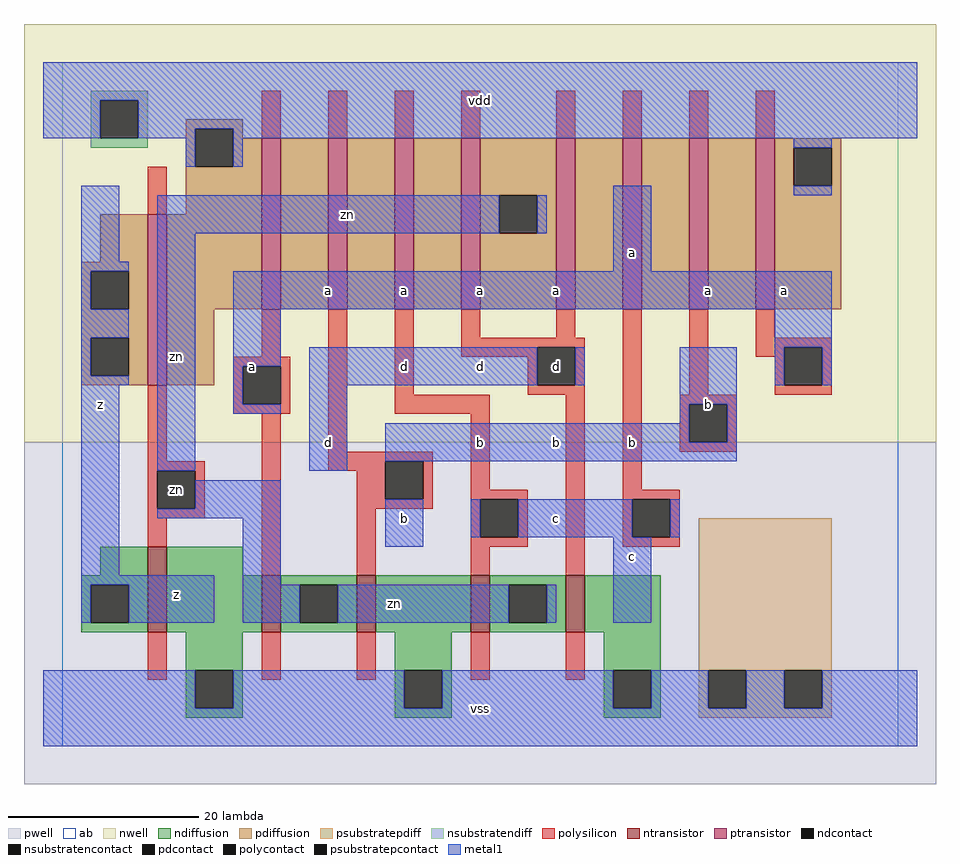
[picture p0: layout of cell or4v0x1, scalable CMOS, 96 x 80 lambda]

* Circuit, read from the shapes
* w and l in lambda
.subckt or4v0x1 a b c d vdd vss z zn
M1 vss zn z vss nfet w=9 l=2
M2 zn a vss vss nfet w=6 l=2
M3 vss b zn vss nfet w=6 l=2
M4 zn c vss vss nfet w=6 l=2
M5 vss d zn vss nfet w=6 l=2
M6 vdd zn z vdd pfet w=18 l=2
M7 n1 a vdd vdd pfet w=18 l=2
M8 n2 b n1 vdd pfet w=18 l=2
M9 n3 c n2 vdd pfet w=18 l=2
M10 zn d n3 vdd pfet w=18 l=2
M11 n4 d zn vdd pfet w=18 l=2
M12 n5 c n4 vdd pfet w=18 l=2
M13 n6 b n5 vdd pfet w=18 l=2
M14 vdd a n6 vdd pfet w=18 l=2
.ends

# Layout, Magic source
magic
tech scmos
<< ab >>
rect 0 0 88 72
<< pwell >>
rect -4 -4 92 32
<< nwell >>
rect -4 32 92 76
<< polysilicon >>
rect 21 64 23 69
rect 28 64 30 69
rect 35 64 37 69
rect 42 64 44 69
rect 52 64 54 69
rect 59 64 61 69
rect 66 64 68 69
rect 73 64 75 69
rect 9 56 11 61
rect 21 41 23 46
rect 18 40 24 41
rect 9 30 11 38
rect 18 36 19 40
rect 23 36 24 40
rect 18 35 24 36
rect 9 29 15 30
rect 9 25 10 29
rect 14 25 15 29
rect 9 24 15 25
rect 9 21 11 24
rect 21 18 23 35
rect 28 31 30 46
rect 35 37 37 46
rect 42 43 44 46
rect 52 43 54 46
rect 42 42 55 43
rect 42 41 50 42
rect 49 38 50 41
rect 54 38 55 42
rect 49 37 55 38
rect 35 35 45 37
rect 28 30 39 31
rect 28 29 34 30
rect 31 26 34 29
rect 38 26 39 30
rect 31 25 39 26
rect 43 27 45 35
rect 43 26 49 27
rect 31 18 33 25
rect 43 22 44 26
rect 48 22 49 26
rect 43 21 49 22
rect 43 18 45 21
rect 53 18 55 37
rect 59 27 61 46
rect 66 37 68 46
rect 73 43 75 46
rect 73 42 81 43
rect 73 41 76 42
rect 75 38 76 41
rect 80 38 81 42
rect 75 37 81 38
rect 65 36 71 37
rect 65 32 66 36
rect 70 32 71 36
rect 65 31 71 32
rect 59 26 65 27
rect 59 22 60 26
rect 64 22 65 26
rect 59 21 65 22
rect 9 7 11 12
rect 21 7 23 12
rect 31 7 33 12
rect 43 7 45 12
rect 53 7 55 12
<< ndiffusion >>
rect 4 18 9 21
rect 2 17 9 18
rect 2 13 3 17
rect 7 13 9 17
rect 2 12 9 13
rect 11 18 19 21
rect 11 12 21 18
rect 23 17 31 18
rect 23 13 25 17
rect 29 13 31 17
rect 23 12 31 13
rect 33 12 43 18
rect 45 17 53 18
rect 45 13 47 17
rect 51 13 53 17
rect 45 12 53 13
rect 55 12 63 18
rect 13 8 19 12
rect 13 4 14 8
rect 18 4 19 8
rect 35 8 41 12
rect 13 3 19 4
rect 35 4 36 8
rect 40 4 41 8
rect 57 8 63 12
rect 35 3 41 4
rect 57 4 58 8
rect 62 4 63 8
rect 57 3 63 4
<< pdiffusion >>
rect 13 65 19 66
rect 13 61 14 65
rect 18 64 19 65
rect 18 61 21 64
rect 13 56 21 61
rect 4 51 9 56
rect 2 50 9 51
rect 2 46 3 50
rect 7 46 9 50
rect 2 43 9 46
rect 2 39 3 43
rect 7 39 9 43
rect 2 38 9 39
rect 11 46 21 56
rect 23 46 28 64
rect 30 46 35 64
rect 37 46 42 64
rect 44 58 52 64
rect 44 54 46 58
rect 50 54 52 58
rect 44 46 52 54
rect 54 46 59 64
rect 61 46 66 64
rect 68 46 73 64
rect 75 63 82 64
rect 75 59 77 63
rect 81 59 82 63
rect 75 46 82 59
rect 11 38 16 46
<< metal1 >>
rect -2 68 90 72
rect -2 64 4 68
rect 8 65 90 68
rect 8 64 14 65
rect 13 61 14 64
rect 18 64 90 65
rect 18 61 19 64
rect 77 63 81 64
rect 2 51 6 59
rect 10 54 46 58
rect 50 54 51 58
rect 2 50 7 51
rect 2 46 3 50
rect 2 43 7 46
rect 2 39 3 43
rect 2 38 7 39
rect 2 18 6 38
rect 10 29 14 54
rect 58 50 62 59
rect 77 58 81 59
rect 18 46 81 50
rect 18 40 23 46
rect 75 42 81 46
rect 18 36 19 40
rect 18 35 23 36
rect 26 38 50 42
rect 54 38 55 42
rect 26 29 30 38
rect 65 36 71 42
rect 75 38 76 42
rect 80 38 81 42
rect 65 34 66 36
rect 34 32 66 34
rect 70 32 71 36
rect 34 30 71 32
rect 14 25 23 28
rect 10 24 23 25
rect 2 17 16 18
rect 2 13 3 17
rect 7 13 16 17
rect 19 17 23 24
rect 34 21 38 26
rect 43 22 44 26
rect 48 22 60 26
rect 64 22 65 26
rect 19 13 25 17
rect 29 13 47 17
rect 51 13 52 17
rect 58 13 62 22
rect -2 4 14 8
rect 18 4 36 8
rect 40 4 58 8
rect 62 4 68 8
rect 72 4 76 8
rect 80 4 90 8
rect -2 0 90 4
<< ntransistor >>
rect 9 12 11 21
rect 21 12 23 18
rect 31 12 33 18
rect 43 12 45 18
rect 53 12 55 18
<< ptransistor >>
rect 9 38 11 56
rect 21 46 23 64
rect 28 46 30 64
rect 35 46 37 64
rect 42 46 44 64
rect 52 46 54 64
rect 59 46 61 64
rect 66 46 68 64
rect 73 46 75 64
<< polycontact >>
rect 19 36 23 40
rect 10 25 14 29
rect 50 38 54 42
rect 34 26 38 30
rect 44 22 48 26
rect 76 38 80 42
rect 66 32 70 36
rect 60 22 64 26
<< ndcontact >>
rect 3 13 7 17
rect 25 13 29 17
rect 47 13 51 17
rect 14 4 18 8
rect 36 4 40 8
rect 58 4 62 8
<< pdcontact >>
rect 14 61 18 65
rect 3 46 7 50
rect 3 39 7 43
rect 46 54 50 58
rect 77 59 81 63
<< psubstratepcontact >>
rect 68 4 72 8
rect 76 4 80 8
<< nsubstratencontact >>
rect 4 64 8 68
<< psubstratepdiff >>
rect 67 8 81 24
rect 67 4 68 8
rect 72 4 76 8
rect 80 4 81 8
rect 67 3 81 4
<< nsubstratendiff >>
rect 3 68 9 69
rect 3 64 4 68
rect 8 64 9 68
rect 3 63 9 64
<< labels >>
rlabel polycontact 12 27 12 27 6 zn
rlabel metal1 12 16 12 16 6 z
rlabel metal1 4 36 4 36 6 z
rlabel metal1 12 41 12 41 6 zn
rlabel metal1 28 32 28 32 6 d
rlabel metal1 20 40 20 40 6 a
rlabel metal1 28 48 28 48 6 a
rlabel metal1 44 4 44 4 6 vss
rlabel metal1 35 15 35 15 6 zn
rlabel metal1 36 24 36 24 6 b
rlabel metal1 44 32 44 32 6 b
rlabel metal1 36 40 36 40 6 d
rlabel metal1 44 40 44 40 6 d
rlabel metal1 36 48 36 48 6 a
rlabel metal1 44 48 44 48 6 a
rlabel metal1 30 56 30 56 6 zn
rlabel metal1 44 68 44 68 6 vdd
rlabel metal1 52 24 52 24 6 c
rlabel metal1 60 20 60 20 6 c
rlabel metal1 60 32 60 32 6 b
rlabel metal1 52 32 52 32 6 b
rlabel polycontact 52 40 52 40 6 d
rlabel metal1 68 36 68 36 6 b
rlabel metal1 52 48 52 48 6 a
rlabel metal1 60 52 60 52 6 a
rlabel metal1 68 48 68 48 6 a
rlabel metal1 76 48 76 48 6 a
<< end >>
